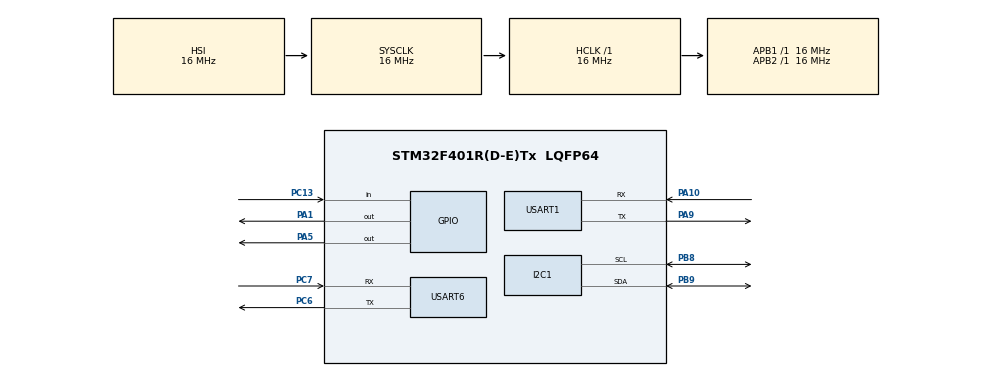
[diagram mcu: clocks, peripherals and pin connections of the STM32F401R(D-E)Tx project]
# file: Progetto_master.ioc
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Mcu.Family=STM32F4
Mcu.Name=STM32F401R(D-E)Tx
Mcu.Package=LQFP64
NVIC.PriorityGroup=NVIC_PRIORITYGROUP_4
NVIC.TIM2_IRQn=true\:0\:0\:false\:false\:true\:true\:true\:true
NVIC.USART1_IRQn=true\:0\:0\:false\:false\:true\:true\:true\:true
NVIC.USART6_IRQn=true\:0\:0\:false\:false\:true\:true\:true\:true
PA1.Signal=GPIO_Output
PA10.Mode=Asynchronous
PA10.Signal=USART1_RX
PA5.Signal=GPIO_Output
PA9.Mode=Asynchronous
PA9.Signal=USART1_TX
PB8.Mode=I2C
PB8.Signal=I2C1_SCL
PB9.Mode=I2C
PB9.Signal=I2C1_SDA
PC13-ANTI_TAMP.Signal=GPIO_Input
PC6.Mode=Asynchronous
PC6.Signal=USART6_TX
PC7.Mode=Asynchronous
PC7.Signal=USART6_RX
ProjectManager.HeapSize=0x200
ProjectManager.StackSize=0x400
ProjectManager.TargetToolchain=STM32CubeIDE
RCC.AHBFreq_Value=16000000
RCC.APB1Freq_Value=16000000
RCC.APB2Freq_Value=16000000
RCC.CortexFreq_Value=16000000
RCC.HSE_VALUE=25000000
RCC.HSI_VALUE=16000000
RCC.LSE_VALUE=32768
RCC.SYSCLKFreq_VALUE=16000000
RCC.VCOOutputFreq_Value=192000000
USART1.VirtualMode=VM_ASYNC
USART6.VirtualMode=VM_ASYNC
VP_TIM2_VS_ClockSourceINT.Mode=Internal
board=custom

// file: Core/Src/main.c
/* USER CODE BEGIN Header */
/**
  ******************************************************************************
  * @file           : main.c
  * @brief          : Master - Reaction Game Controller (2 Players)
  ******************************************************************************
  */
/* USER CODE END Header */
#include "main.h"
#include <stdio.h>
#include <stdlib.h>
#include <string.h>

/* USER CODE BEGIN Includes */
#include "ssd1306.h"
#include "ssd1306_fonts.h"
/* USER CODE END Includes */

/* USER CODE BEGIN PTD */
typedef enum {
    GAME_IDLE,
    GAME_WAITING,
    GAME_LED_ON,
    GAME_FINISHED,
    GAME_FALSE_START
} GameState_t;

typedef struct {
    uint32_t timestamp;
    uint8_t player_id;
    uint8_t valid;
} ReactionTime_t;
/* USER CODE END PTD */

/* USER CODE BEGIN PD */
#define UART_RX_BUFFER_SIZE 64
#define LED_START_PIN GPIO_PIN_1  // LED di start su PA1
#define MAX_WAIT_TIME 10000       // 10 secondi massimo
#define MIN_WAIT_TIME 1000        // 1 secondo minimo
/* USER CODE END PD */

I2C_HandleTypeDef hi2c1;
TIM_HandleTypeDef htim2;
UART_HandleTypeDef huart1;  // Per Slave 1
UART_HandleTypeDef huart6;  // Per Slave 2

/* USER CODE BEGIN PV */
volatile GameState_t game_state = GAME_IDLE;
volatile uint32_t game_start_time = 0;
volatile uint32_t led_on_time = 0;
volatile uint32_t random_delay = 0;

ReactionTime_t player1_time = {0, 1, 0};
ReactionTime_t player2_time = {0, 2, 0};

uint8_t uart1_rx_buffer[UART_RX_BUFFER_SIZE];
uint8_t uart6_rx_buffer[UART_RX_BUFFER_SIZE];
volatile uint8_t uart1_rx_index = 0;
volatile uint8_t uart6_rx_index = 0;

char display_buffer[32];
/* USER CODE END PV */

void SystemClock_Config(void);
static void MX_GPIO_Init(void);
static void MX_I2C1_Init(void);
static void MX_TIM2_Init(void);
static void MX_USART1_UART_Init(void);
static void MX_USART6_UART_Init(void);
/* USER CODE BEGIN PFP */
void StartNewGame(void);
void ProcessUARTMessage(uint8_t *buffer, uint8_t len, uint8_t player_id);
void UpdateDisplay(void);
void GenerateRandomDelay(void);
uint32_t GetCurrentTime(void);
/* USER CODE END PFP */

int main(void)
{

  /* MCU Configuration--------------------------------------------------------*/

  /* Reset of all peripherals, Initializes the Flash interface and the Systick. */
  HAL_Init();

  /* Configure the system clock */
  SystemClock_Config();

  /* Initialize all configured peripherals */
  MX_GPIO_Init();
  MX_I2C1_Init();
  MX_TIM2_Init();
  MX_USART1_UART_Init();
  MX_USART6_UART_Init();
  /* USER CODE BEGIN 2 */

  // Inizializza timer per timestamp
  HAL_TIM_Base_Start(&htim2);

  // Test LED integrato per indicare avvio
  HAL_GPIO_WritePin(GPIOA, GPIO_PIN_5, GPIO_PIN_SET);
  HAL_Delay(500);
  HAL_GPIO_WritePin(GPIOA, GPIO_PIN_5, GPIO_PIN_RESET);

  // Inizializza display OLED
  HAL_Delay(100);
  ssd1306_Init();
  ssd1306_Fill(Black);
  ssd1306_SetCursor(0, 0);
  ssd1306_WriteString("REACTION", Font_11x18, White);     // ✅ CORRETTO
  ssd1306_SetCursor(15, 20);
  ssd1306_WriteString("GAME", Font_11x18, White);         // ✅ NUOVA RIGA
  ssd1306_SetCursor(0, 40);
  ssd1306_WriteString("Press USER button", Font_6x8, White);
  ssd1306_SetCursor(0, 55);
  ssd1306_WriteString("to start", Font_6x8, White);
  ssd1306_UpdateScreen();

  // Inizializza LED di start spento
  HAL_GPIO_WritePin(GPIOA, LED_START_PIN, GPIO_PIN_RESET);

  // Abilita ricezione UART interrupt per entrambi i slave
  HAL_UART_Receive_IT(&huart1, &uart1_rx_buffer[uart1_rx_index], 1);
  HAL_UART_Receive_IT(&huart6, &uart6_rx_buffer[uart6_rx_index], 1);

  // Seed per random (usa timer)
  srand(HAL_GetTick());

  /* USER CODE END 2 */

  /* Infinite loop */
  while (1)
  {

    /* USER CODE BEGIN 3 */
    uint32_t current_time = GetCurrentTime();

    switch(game_state) {
        case GAME_IDLE:
            // Aspetta pressione user button per iniziare
            if (HAL_GPIO_ReadPin(GPIOC, GPIO_PIN_13) == GPIO_PIN_RESET) {
                StartNewGame();
                HAL_Delay(300); // Debounce
            }
            break;

        case GAME_WAITING:
            // Aspetta il delay casuale
            if (current_time - game_start_time >= random_delay) {
                // Accendi LED di start
                HAL_GPIO_WritePin(GPIOA, LED_START_PIN, GPIO_PIN_SET);
                led_on_time = current_time;  // Salva il momento di accensione LED
                game_state = GAME_LED_ON;

                // Invia comando GO a entrambi i slave
                uint8_t go_cmd[] = "GO\r\n";
                HAL_UART_Transmit(&huart1, go_cmd, strlen((char*)go_cmd), 100);
                HAL_UART_Transmit(&huart6, go_cmd, strlen((char*)go_cmd), 100);

                // Aggiorna display
                ssd1306_Fill(Black);
                ssd1306_SetCursor(30, 20);
                ssd1306_WriteString("GO!", Font_11x18, White);
                ssd1306_UpdateScreen();
            }
            break;

        case GAME_LED_ON:
            // Aspetta reazioni dei giocatori o timeout
            if (player1_time.valid && player2_time.valid) {
                // Entrambi hanno reagito
                game_state = GAME_FINISHED;
            } else if (current_time - led_on_time > 5000) {
                // Timeout 5 secondi - finisce anche se solo uno ha reagito
                game_state = GAME_FINISHED;
            }
            break;

        case GAME_FINISHED:
            // Mostra risultati
            UpdateDisplay();

            // Aspetta 5 secondi poi torna al menu
            HAL_Delay(5000);
            game_state = GAME_IDLE;

            // Reset display
            ssd1306_Fill(Black);
            ssd1306_SetCursor(0, 0);
            ssd1306_WriteString("REACTION", Font_11x18, White);     // ✅ CORRETTO
            ssd1306_SetCursor(15, 20);
            ssd1306_WriteString("GAME", Font_11x18, White);         // ✅ NUOVA RIGA
            ssd1306_SetCursor(0, 40);
            ssd1306_WriteString("Press USER button", Font_6x8, White);
            ssd1306_SetCursor(0, 55);
            ssd1306_WriteString("to start", Font_6x8, White);
            ssd1306_UpdateScreen();
            break;

        case GAME_FALSE_START:
            // Gestisce partenza falsa
            HAL_Delay(3000);
            game_state = GAME_IDLE;
            break;
    }

    HAL_Delay(10);
  }
  /* USER CODE END 3 */
}

void SystemClock_Config(void)
{
  RCC_OscInitTypeDef RCC_OscInitStruct = {0};
  RCC_ClkInitTypeDef RCC_ClkInitStruct = {0};

  /** Configure the main internal regulator output voltage
  */
  __HAL_RCC_PWR_CLK_ENABLE();
  __HAL_PWR_VOLTAGESCALING_CONFIG(PWR_REGULATOR_VOLTAGE_SCALE2);

  /** Initializes the RCC Oscillators according to the specified parameters
  * in the RCC_OscInitTypeDef structure.
  */
  RCC_OscInitStruct.OscillatorType = RCC_OSCILLATORTYPE_HSI;
  RCC_OscInitStruct.HSIState = RCC_HSI_ON;
  RCC_OscInitStruct.HSICalibrationValue = RCC_HSICALIBRATION_DEFAULT;
  RCC_OscInitStruct.PLL.PLLState = RCC_PLL_NONE;
  if (HAL_RCC_OscConfig(&RCC_OscInitStruct) != HAL_OK)
  {
    Error_Handler();
  }

  /** Initializes the CPU, AHB and APB buses clocks
  */
  RCC_ClkInitStruct.ClockType = RCC_CLOCKTYPE_HCLK|RCC_CLOCKTYPE_SYSCLK
                              |RCC_CLOCKTYPE_PCLK1|RCC_CLOCKTYPE_PCLK2;
  RCC_ClkInitStruct.SYSCLKSource = RCC_SYSCLKSOURCE_HSI;
  RCC_ClkInitStruct.AHBCLKDivider = RCC_SYSCLK_DIV1;
  RCC_ClkInitStruct.APB1CLKDivider = RCC_HCLK_DIV1;
  RCC_ClkInitStruct.APB2CLKDivider = RCC_HCLK_DIV1;

  if (HAL_RCC_ClockConfig(&RCC_ClkInitStruct, FLASH_LATENCY_0) != HAL_OK)
  {
    Error_Handler();
  }
}

static void MX_I2C1_Init(void)
{

  hi2c1.Instance = I2C1;
  hi2c1.Init.ClockSpeed = 400000;
  hi2c1.Init.DutyCycle = I2C_DUTYCYCLE_2;
  hi2c1.Init.OwnAddress1 = 0;
  hi2c1.Init.AddressingMode = I2C_ADDRESSINGMODE_7BIT;
  hi2c1.Init.DualAddressMode = I2C_DUALADDRESS_DISABLE;
  hi2c1.Init.OwnAddress2 = 0;
  hi2c1.Init.GeneralCallMode = I2C_GENERALCALL_DISABLE;
  hi2c1.Init.NoStretchMode = I2C_NOSTRETCH_DISABLE;
  if (HAL_I2C_Init(&hi2c1) != HAL_OK)
  {
    Error_Handler();
  }

}

static void MX_TIM2_Init(void)
{

  TIM_ClockConfigTypeDef sClockSourceConfig = {0};
  TIM_MasterConfigTypeDef sMasterConfig = {0};

  htim2.Instance = TIM2;
  htim2.Init.Prescaler = 15999;
  htim2.Init.CounterMode = TIM_COUNTERMODE_UP;
  htim2.Init.Period = 4294967295;
  htim2.Init.ClockDivision = TIM_CLOCKDIVISION_DIV1;
  htim2.Init.AutoReloadPreload = TIM_AUTORELOAD_PRELOAD_DISABLE;
  if (HAL_TIM_Base_Init(&htim2) != HAL_OK)
  {
    Error_Handler();
  }
  sClockSourceConfig.ClockSource = TIM_CLOCKSOURCE_INTERNAL;
  if (HAL_TIM_ConfigClockSource(&htim2, &sClockSourceConfig) != HAL_OK)
  {
    Error_Handler();
  }
  sMasterConfig.MasterOutputTrigger = TIM_TRGO_RESET;
  sMasterConfig.MasterSlaveMode = TIM_MASTERSLAVEMODE_DISABLE;
  if (HAL_TIMEx_MasterConfigSynchronization(&htim2, &sMasterConfig) != HAL_OK)
  {
    Error_Handler();
  }

}

static void MX_USART1_UART_Init(void)
{

  huart1.Instance = USART1;
  huart1.Init.BaudRate = 115200;
  huart1.Init.WordLength = UART_WORDLENGTH_8B;
  huart1.Init.StopBits = UART_STOPBITS_1;
  huart1.Init.Parity = UART_PARITY_NONE;
  huart1.Init.Mode = UART_MODE_TX_RX;
  huart1.Init.HwFlowCtl = UART_HWCONTROL_NONE;
  huart1.Init.OverSampling = UART_OVERSAMPLING_16;
  if (HAL_UART_Init(&huart1) != HAL_OK)
  {
    Error_Handler();
  }

}

static void MX_USART6_UART_Init(void)
{

  huart6.Instance = USART6;
  huart6.Init.BaudRate = 115200;
  huart6.Init.WordLength = UART_WORDLENGTH_8B;
  huart6.Init.StopBits = UART_STOPBITS_1;
  huart6.Init.Parity = UART_PARITY_NONE;
  huart6.Init.Mode = UART_MODE_TX_RX;
  huart6.Init.HwFlowCtl = UART_HWCONTROL_NONE;
  huart6.Init.OverSampling = UART_OVERSAMPLING_16;
  if (HAL_UART_Init(&huart6) != HAL_OK)
  {
    Error_Handler();
  }

}

static void MX_GPIO_Init(void)
{
  GPIO_InitTypeDef GPIO_InitStruct = {0};

  /* GPIO Ports Clock Enable */
  __HAL_RCC_GPIOC_CLK_ENABLE();
  __HAL_RCC_GPIOA_CLK_ENABLE();
  __HAL_RCC_GPIOB_CLK_ENABLE();

  /*Configure GPIO pin Output Level */
  HAL_GPIO_WritePin(GPIOA, GPIO_PIN_1|GPIO_PIN_5, GPIO_PIN_RESET);

  /*Configure GPIO pins : PA1 PA5 */
  GPIO_InitStruct.Pin = GPIO_PIN_1|GPIO_PIN_5;
  GPIO_InitStruct.Mode = GPIO_MODE_OUTPUT_PP;
  GPIO_InitStruct.Pull = GPIO_NOPULL;
  GPIO_InitStruct.Speed = GPIO_SPEED_FREQ_LOW;
  HAL_GPIO_Init(GPIOA, &GPIO_InitStruct);

  /*Configure GPIO pin : PC13 */
  GPIO_InitStruct.Pin = GPIO_PIN_13;
  GPIO_InitStruct.Mode = GPIO_MODE_INPUT;
  GPIO_InitStruct.Pull = GPIO_NOPULL;
  HAL_GPIO_Init(GPIOC, &GPIO_InitStruct);

}

/* USER CODE BEGIN 4 */

void StartNewGame(void) {
    // Reset variabili di gioco per entrambi i giocatori
    player1_time.valid = 0;
    player1_time.timestamp = 0;
    player2_time.valid = 0;
    player2_time.timestamp = 0;

    // Spegni LED
    HAL_GPIO_WritePin(GPIOA, LED_START_PIN, GPIO_PIN_RESET);

    // Genera delay casuale
    GenerateRandomDelay();

    game_start_time = GetCurrentTime();
    game_state = GAME_WAITING;

    // Aggiorna display
    ssd1306_Fill(Black);
    ssd1306_SetCursor(0, 10);
    ssd1306_WriteString("GET", Font_11x18, White);
    ssd1306_SetCursor(0, 35);
    ssd1306_WriteString("READY...", Font_11x18, White);
    sprintf(display_buffer, "Wait %lu sec", random_delay/1000);
    ssd1306_SetCursor(0, 55);
    ssd1306_WriteString(display_buffer, Font_6x8, White);
    ssd1306_UpdateScreen();

    // Invia comando di reset a entrambi i slave
    uint8_t reset_cmd[] = "RESET\r\n";
    HAL_UART_Transmit(&huart1, reset_cmd, strlen((char*)reset_cmd), 100);
    HAL_UART_Transmit(&huart6, reset_cmd, strlen((char*)reset_cmd), 100);
}

void ProcessUARTMessage(uint8_t *buffer, uint8_t len, uint8_t player_id) {
    // Cerca timestamp nel messaggio formato "TIME:12345"
    char *time_str = strstr((char*)buffer, "TIME:");
    if (time_str != NULL) {
        uint32_t reaction_time_ms = atoi(time_str + 5);  // Tempo in millisecondi dallo Slave

        // Verifica se è partenza falsa
        if (game_state != GAME_LED_ON) {
            game_state = GAME_FALSE_START;
            ssd1306_Fill(Black);
            ssd1306_SetCursor(0, 10);
            ssd1306_WriteString("FALSE", Font_11x18, White);
            ssd1306_SetCursor(0, 35);
            sprintf(display_buffer, "START P%d!", player_id);
            ssd1306_WriteString(display_buffer, Font_11x18, White);
            ssd1306_UpdateScreen();
            return;
        }

        // Il tempo di reazione è già corretto dallo Slave
        if (player_id == 1 && !player1_time.valid) {
            player1_time.timestamp = reaction_time_ms;  // Usa direttamente il tempo dello Slave
            player1_time.valid = 1;
        } else if (player_id == 2 && !player2_time.valid) {
            player2_time.timestamp = reaction_time_ms;  // Usa direttamente il tempo dello Slave
            player2_time.valid = 1;
        }
    }
}

void UpdateDisplay(void) {
    // Spegni LED
    HAL_GPIO_WritePin(GPIOA, LED_START_PIN, GPIO_PIN_RESET);

    ssd1306_Fill(Black);

    if (player1_time.valid || player2_time.valid) {
        ssd1306_SetCursor(0, 0);
        ssd1306_WriteString("RESULTS:", Font_7x10, White);

        // Player 1
        if (player1_time.valid) {
            uint32_t seconds = player1_time.timestamp / 1000;
            uint32_t milliseconds = player1_time.timestamp % 1000;
            sprintf(display_buffer, "P1: %lu.%03lu sec", seconds, milliseconds);
            ssd1306_SetCursor(0, 15);
            ssd1306_WriteString(display_buffer, Font_7x10, White);
        } else {
            ssd1306_SetCursor(0, 15);
            ssd1306_WriteString("P1: NO PRESS", Font_7x10, White);
        }

        // Player 2
        if (player2_time.valid) {
            uint32_t seconds = player2_time.timestamp / 1000;
            uint32_t milliseconds = player2_time.timestamp % 1000;
            sprintf(display_buffer, "P2: %lu.%03lu sec", seconds, milliseconds);
            ssd1306_SetCursor(0, 30);
            ssd1306_WriteString(display_buffer, Font_7x10, White);
        } else {
            ssd1306_SetCursor(0, 30);
            ssd1306_WriteString("P2: NO PRESS", Font_7x10, White);
        }

        // Determina vincitore e invia comandi agli slave
        if (player1_time.valid && player2_time.valid) {
            if (player1_time.timestamp < player2_time.timestamp) {
                // Player 1 vince
                ssd1306_SetCursor(0, 50);
                ssd1306_WriteString("WINNER: P1!", Font_7x10, White);

                // Invia risultati agli slave
                uint8_t win_cmd[] = "WIN\r\n";
                uint8_t lose_cmd[] = "LOSE\r\n";
                HAL_UART_Transmit(&huart1, win_cmd, strlen((char*)win_cmd), 100);   // Slave 1 vince
                HAL_UART_Transmit(&huart6, lose_cmd, strlen((char*)lose_cmd), 100); // Slave 2 perde

            } else if (player2_time.timestamp < player1_time.timestamp) {
                // Player 2 vince
                ssd1306_SetCursor(0, 50);
                ssd1306_WriteString("WINNER: P2!", Font_7x10, White);

                // Invia risultati agli slave
                uint8_t win_cmd[] = "WIN\r\n";
                uint8_t lose_cmd[] = "LOSE\r\n";
                HAL_UART_Transmit(&huart1, lose_cmd, strlen((char*)lose_cmd), 100); // Slave 1 perde
                HAL_UART_Transmit(&huart6, win_cmd, strlen((char*)win_cmd), 100);   // Slave 2 vince

            } else {
                // Pareggio - entrambi perdono tecnicamente
                ssd1306_SetCursor(0, 50);
                ssd1306_WriteString("TIE!", Font_7x10, White);

                // In caso di pareggio, entrambi "perdono"
                uint8_t lose_cmd[] = "LOSE\r\n";
                HAL_UART_Transmit(&huart1, lose_cmd, strlen((char*)lose_cmd), 100);
                HAL_UART_Transmit(&huart6, lose_cmd, strlen((char*)lose_cmd), 100);
            }
        } else if (player1_time.valid) {
            // Solo Player 1 ha premuto
            ssd1306_SetCursor(0, 50);
            ssd1306_WriteString("WINNER: P1!", Font_7x10, White);

            uint8_t win_cmd[] = "WIN\r\n";
            uint8_t lose_cmd[] = "LOSE\r\n";
            HAL_UART_Transmit(&huart1, win_cmd, strlen((char*)win_cmd), 100);   // Slave 1 vince
            HAL_UART_Transmit(&huart6, lose_cmd, strlen((char*)lose_cmd), 100); // Slave 2 perde

        } else if (player2_time.valid) {
            // Solo Player 2 ha premuto
            ssd1306_SetCursor(0, 50);
            ssd1306_WriteString("WINNER: P2!", Font_7x10, White);

            uint8_t win_cmd[] = "WIN\r\n";
            uint8_t lose_cmd[] = "LOSE\r\n";
            HAL_UART_Transmit(&huart1, lose_cmd, strlen((char*)lose_cmd), 100); // Slave 1 perde
            HAL_UART_Transmit(&huart6, win_cmd, strlen((char*)win_cmd), 100);   // Slave 2 vince
        }
    } else {
        // Nessuno ha premuto
        ssd1306_SetCursor(0, 20);
        ssd1306_WriteString("NO RESPONSE", Font_11x18, White);
        ssd1306_SetCursor(0, 45);
        ssd1306_WriteString("FROM BOTH!", Font_7x10, White);

        // Entrambi perdono
        uint8_t lose_cmd[] = "LOSE\r\n";
        HAL_UART_Transmit(&huart1, lose_cmd, strlen((char*)lose_cmd), 100);
        HAL_UART_Transmit(&huart6, lose_cmd, strlen((char*)lose_cmd), 100);
    }

    ssd1306_UpdateScreen();
}

void GenerateRandomDelay(void) {
    random_delay = MIN_WAIT_TIME + (rand() % (MAX_WAIT_TIME - MIN_WAIT_TIME));
}

uint32_t GetCurrentTime(void) {
    return __HAL_TIM_GET_COUNTER(&htim2);
}

// Callback UART per ricezione dati dai slave
void HAL_UART_RxCpltCallback(UART_HandleTypeDef *huart) {
    if (huart->Instance == USART1) {
        // Player 1
        uart1_rx_index++;
        if (uart1_rx_index >= UART_RX_BUFFER_SIZE - 1 ||
            uart1_rx_buffer[uart1_rx_index-1] == '\n') {
            uart1_rx_buffer[uart1_rx_index] = '\0';
            ProcessUARTMessage(uart1_rx_buffer, uart1_rx_index, 1);
            uart1_rx_index = 0;
        }
        HAL_UART_Receive_IT(&huart1, &uart1_rx_buffer[uart1_rx_index], 1);
    }

    if (huart->Instance == USART6) {
        // Player 2
        uart6_rx_index++;
        if (uart6_rx_index >= UART_RX_BUFFER_SIZE - 1 ||
            uart6_rx_buffer[uart6_rx_index-1] == '\n') {
            uart6_rx_buffer[uart6_rx_index] = '\0';
            ProcessUARTMessage(uart6_rx_buffer, uart6_rx_index, 2);
            uart6_rx_index = 0;
        }
        HAL_UART_Receive_IT(&huart6, &uart6_rx_buffer[uart6_rx_index], 1);
    }
}

/* USER CODE END 4 */

void Error_Handler(void)
{
  /* USER CODE BEGIN Error_Handler_Debug */
  /* User can add his own implementation to report the HAL error return state */
  __disable_irq();
  while (1)
  {
    HAL_GPIO_WritePin(GPIOA, GPIO_PIN_5, GPIO_PIN_SET);
    HAL_Delay(200);
    HAL_GPIO_WritePin(GPIOA, GPIO_PIN_5, GPIO_PIN_RESET);
    HAL_Delay(200);
  }
  /* USER CODE END Error_Handler_Debug */
}
